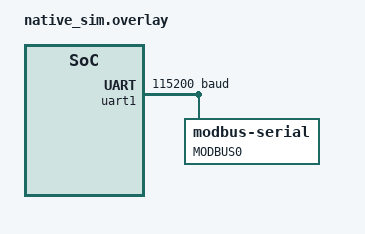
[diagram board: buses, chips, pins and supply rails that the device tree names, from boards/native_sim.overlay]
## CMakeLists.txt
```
cmake_minimum_required(VERSION 3.20.0)

set(CMAKE_EXPORT_COMPILE_COMMANDS ON)
find_package(Zephyr REQUIRED HINTS $ENV{ZEPHYR_BASE})
project(sample_with_mcuboot)

test_sysbuild()
# zephyr_link_libraries(MCUBOOT_BOOTUTIL)

target_sources(app PRIVATE src/main.c)
```

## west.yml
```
manifest:
  version: 0.8

  projects:
    - name: zephyr
      url: https://github.com/zephyrproject-rtos/zephyr
      revision: main
      import:
        file: west.yml
        path-prefix: deps
        name-allowlist:
          - zephyr
          - cmsis
          - cmsis_6
          - hal_nordic
          - mcuboot
          - zcbor
          - mbedtls
          - modbus

  self:
    path: app
```

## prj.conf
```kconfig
CONFIG_DMA=y
#CONFIG_DMA_LOOPBACK=y

CONFIG_UART_INTERRUPT_DRIVEN=y
CONFIG_HWINFO=y
CONFIG_STDOUT_CONSOLE=y
CONFIG_SETTINGS=y
CONFIG_SETTINGS_NONE=n
CONFIG_SETTINGS_RUNTIME=y
CONFIG_RESET=y
CONFIG_CONSOLE=y
CONFIG_REBOOT=y

CONFIG_SERIAL=y
CONFIG_SHELL=y
CONFIG_SHELL_MINIMAL=n 
CONFIG_SETTINGS_SHELL=y
CONFIG_KERNEL_SHELL=y
CONFIG_POSIX_ENV_SHELL=y
CONFIG_POSIX_UNAME_SHELL=y
CONFIG_UART_SHELL=y 
CONFIG_HWINFO_SHELL=y
CONFIG_DEVICE_SHELL=y
CONFIG_DATE_SHELL=y
CONFIG_DEVMEM_SHELL=y
CONFIG_APP_VERSION_SHELL=y
CONFIG_SHELL_DEVICE_HELPERS=y
CONFIG_KERNEL_SHELL_PANIC_CMD=y
CONFIG_UUID=y

# Enable logging

CONFIG_UART_CONSOLE=y
CONFIG_PRINTK=y
CONFIG_LOG_PRINTK=y
CONFIG_LOG=y
CONFIG_LOG_DEFAULT_LEVEL=3
CONFIG_LOG_RUNTIME_FILTERING=y
CONFIG_LOG_MODE_IMMEDIATE=y

CONFIG_SIZE_OPTIMIZATIONS_AGGRESSIVE=y
CONFIG_LEGACY_GENERATED_INCLUDE_PATH=y
CONFIG_DEBUG_THREAD_INFO=y
CONFIG_DEBUG=y
CONFIG_ASSERT_VERBOSE=y
CONFIG_COMPILER_SAVE_TEMPS=y
CONFIG_OUTPUT_PRINT_MEMORY_USAGE=y
CONFIG_BUILD_OUTPUT_META=y
CONFIG_OUTPUT_STAT=y
CONFIG_OUTPUT_SYMBOLS=y
CONFIG_CLEANUP_INTERMEDIATE_FILES=n
CONFIG_BUILD_OUTPUT_STRIP_PATHS=y
CONFIG_CHECK_INIT_PRIORITIES=y
CONFIG_SHELL_PROMPT_UART=" > "


CONFIG_MODBUS=y
#CONFIG_MODBUS_RTU=y
CONFIG_MODBUS_SERIAL=y
#CONFIG_MODBUS_ROLE_SERVER=y
CONFIG_UART_LINE_CTRL=n

#CONFIG_MODBUS_FUNCTION_READ=y
#CONFIG_MODBUS_FUNCTION_WRITE=y
#CONFIG_MODBUS_FUNCTION_CODE_DATA=y

#CONFIG_MODBUS_SHELL=y


# Optional (but highly recommended)
CONFIG_MAIN_STACK_SIZE=2048
```

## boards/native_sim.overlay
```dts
/*
 * Copyright (c) 2023 Meta
 *
 * SPDX-License-Identifier: Apache-2.0
 */


///dts-v1/;

/* Modify DMA node */
&dma {
    dma-channels = <2>;
    status = "okay";
};

tst_dma0: &dma {};

/* Override UART1 for Modbus RTU */
&uart1 {
    status = "okay";
    current-speed = <115200>;
    compatible = "zephyr,native-tty-uart";
    serial-port = "/tmp/ttyModbus0";

    modbus0: modbus0 {
        compatible = "zephyr,modbus-serial";
        status = "okay";
		label = "MODBUS0";
    };
};

/* Root node */
 / {
    chosen {
        zephyr,modbus-uart = &uart1;
    };
};
```

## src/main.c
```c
/*
 * Copyright (c) 2020 PHYTEC Messtechnik GmbH
 * Copyright (c) 2022 Nordic Semiconductor ASA
 *
 * SPDX-License-Identifier: Apache-2.0
 */

#include <assert.h>
#include <zephyr/app_version.h>
#include <zephyr/shell/shell.h>

#include <zephyr/sys/printk.h>

#include <zephyr/device.h>
#include <zephyr/devicetree.h>
#include <zephyr/modbus/modbus.h>

#include <zephyr/kernel.h>
#include <zephyr/modbus/modbus.h>
#include <zephyr/sys/util.h>

#include <zephyr/logging/log.h>
// LOG_MODULE_REGISTER(main, LOG_LEVEL_INF);
LOG_MODULE_REGISTER(mbs_sample, LOG_LEVEL_INF);

#define NUM_COILS 8
#define NUM_REGISTERS 8

static uint16_t holding_reg[NUM_REGISTERS];
static uint8_t coils_state;

static int coil_rd(uint16_t addr, bool *state) {
  if (addr >= NUM_COILS) {
    return -ENOTSUP;
  }

  if (coils_state & BIT(addr)) {
    *state = true;
  } else {
    *state = false;
  }

  LOG_INF("Coil read, addr %u, %d", addr, (int)*state);

  return 0;
}

static int coil_wr(uint16_t addr, bool state) {
  bool on;
  if (addr >= NUM_COILS) {
    return -ENOTSUP;
  }

  if (state == true) {
    coils_state |= BIT(addr);
    on = true;
  } else {
    coils_state &= ~BIT(addr);
    on = false;
  }

  LOG_INF("Coil write, addr %u, %d", addr, (int)state);

  return 0;
}

static int holding_reg_rd(uint16_t addr, uint16_t *reg) {
  if (addr >= ARRAY_SIZE(holding_reg)) {
    return -ENOTSUP;
  }

  *reg = holding_reg[addr];

  LOG_INF("Holding register read, addr %u", addr);

  return 0;
}

static int holding_reg_wr(uint16_t addr, uint16_t reg) {
  if (addr >= ARRAY_SIZE(holding_reg)) {
    return -ENOTSUP;
  }

  holding_reg[addr] = reg;

  LOG_INF("Holding register write, addr %u", addr);

  return 0;
}

static struct modbus_user_callbacks mbs_cbs = {
    .coil_rd = coil_rd,
    .coil_wr = coil_wr,
    .holding_reg_rd = holding_reg_rd,
    .holding_reg_wr = holding_reg_wr,
};

const static struct modbus_iface_param server_param = {
    .mode = MODBUS_MODE_RTU,
    .server =
        {
            .user_cb = &mbs_cbs,
            .unit_id = 1,
        },
    .serial =
        {
            .baud = 19200,
            .parity = UART_CFG_PARITY_NONE,
        },
};

#define MODBUS_NODE DT_COMPAT_GET_ANY_STATUS_OKAY(zephyr_modbus_serial)

static int init_modbus_server(void) {
  const char iface_name[] = {DEVICE_DT_NAME(MODBUS_NODE)};
  int iface;

  iface = modbus_iface_get_by_name(iface_name);

  if (iface < 0) {
    LOG_ERR("Failed to get iface index for %s", iface_name);
    return iface;
  }

  return modbus_init_server(iface, server_param);
}

int main(void) {
#if DT_NODE_HAS_COMPAT(DT_PARENT(MODBUS_NODE), zephyr_cdc_acm_uart)
  const struct device *const dev = DEVICE_DT_GET(DT_PARENT(MODBUS_NODE));
  uint32_t dtr = 0;

  if (!device_is_ready(dev)) {
    return 0;
  }

  while (!dtr) {
    uart_line_ctrl_get(dev, UART_LINE_CTRL_DTR, &dtr);
    k_sleep(K_MSEC(100));
  }

  LOG_INF("Client connected to server on %s", dev->name);
#endif

  if (init_modbus_server()) {
    LOG_ERR("Modbus RTU server initialization failed");
  }
  return 0;
}
```
